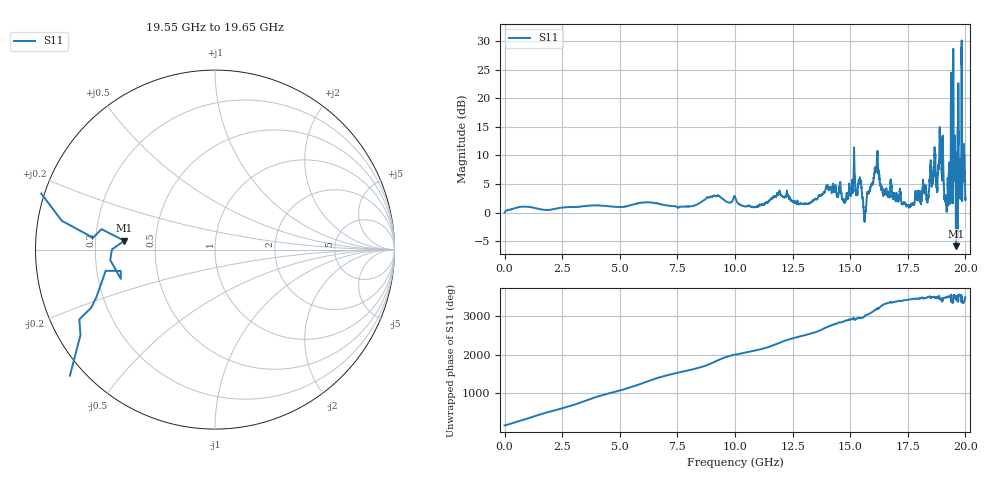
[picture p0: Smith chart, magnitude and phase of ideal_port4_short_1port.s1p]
! Created with skrf 1.8.0 (http://scikit-rf.org).
# GHz S RI R 50.0
!freq ReS11 ImS11
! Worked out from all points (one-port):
!   10001 points, 1 MHz to 20 GHz, reference 50 ohm
!   lowest |S11| = -5.9 dB at 19.6 GHz (marker M1), VSWR 3.07, Z = 16.3 + j2.18 ohm
!   |S11| at or under -10 dB: nowhere
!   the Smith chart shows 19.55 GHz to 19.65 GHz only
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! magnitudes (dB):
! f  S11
! 1 MHz  0.0
! 2.501 GHz  0.9
! 5.001 GHz  1.0
! 7.501 GHz  0.9
! 10 GHz  2.8
! 12.5 GHz  2.0
! 13.2 GHz  1.6
! 14.04 GHz  4.2
! 14.73 GHz  2.0
! 15 GHz  4.0
! 15.13 GHz  5.2
! 15.42 GHz  6.2
! 15.63 GHz  -1.4
! 16.15 GHz  8.3
! 16.43 GHz  2.9
! 17.5 GHz  1.1
! 18.34 GHz  2.5
! 18.77 GHz  3.8
! 18.94 GHz  8.7
! 19.16 GHz  1.7
! 19.26 GHz  3.3
! 19.46 GHz  2.1
! 19.5 GHz  8.5
! 19.6 GHz  -5.9
! 19.68 GHz  8.9
! 19.75 GHz  7.0
! 19.89 GHz  6.6
! 20 GHz  2.2
